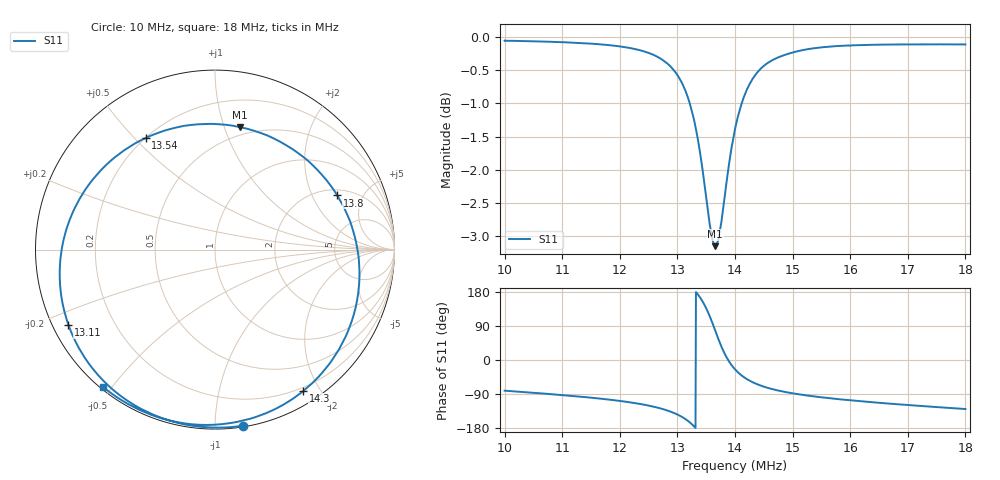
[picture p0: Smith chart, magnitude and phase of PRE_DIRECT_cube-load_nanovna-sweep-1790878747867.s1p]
! NanoVNA Web complex sweep
! Processing: unaveraged complex samples; linear segment spacing; no smoothing
# Hz S RI R 50
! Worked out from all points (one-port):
!   1010 points, 10 MHz to 18 MHz, reference 50 ohm
!   lowest |S11| = -3.1 dB at 13.66 MHz (marker M1), VSWR 5.58, Z = 21.4 + j56.7 ohm
!   |S11| at or under -10 dB: nowhere
!   S11 on the Smith chart (normalised r, x): 10 MHz: 0.01, -1.17; 13.11 MHz: 0.05, -0.24; 13.54 MHz: 0.20, +0.54; 13.8 MHz: 2.31, +3.13; 14.3 MHz: 0.16, -1.79; 18 MHz: 0.01, -0.47
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1e7  0.1561 -0.9813
1.100698e7  -0.0448 -0.99
1.200604e7  -0.3055 -0.935
1.234698e7  -0.4267 -0.8793
1.261657e7  -0.5449 -0.8002
1.283065e7  -0.6573 -0.6922
1.300509e7  -0.7591 -0.5469
1.310817e7  -0.8165 -0.419
1.324296e7  -0.8642 -0.1796
1.336982e7  -0.8181 0.1418
1.345704e7  -0.6725 0.4006
1.354426e7  -0.3854 0.6226
1.359977e7  -0.1334 0.6944
1.365527e7  0.141 0.6817
1.369491e7  0.3285 0.6187
1.373456e7  0.492 0.5162
1.379799e7  0.6812 0.3018
1.384556e7  0.7628 0.127
1.389314e7  0.8 -0.0411
1.400414e7  0.7726 -0.3642
1.413894e7  0.6502 -0.6187
1.429752e7  0.492 -0.7878
1.457503e7  0.2663 -0.9186
1.50032e7  0.0347 -0.9728
1.543929e7  -0.1256 -0.9735
1.600225e7  -0.277 -0.9452
1.700131e7  -0.4754 -0.8652
1.800036e7  -0.626 -0.7634
